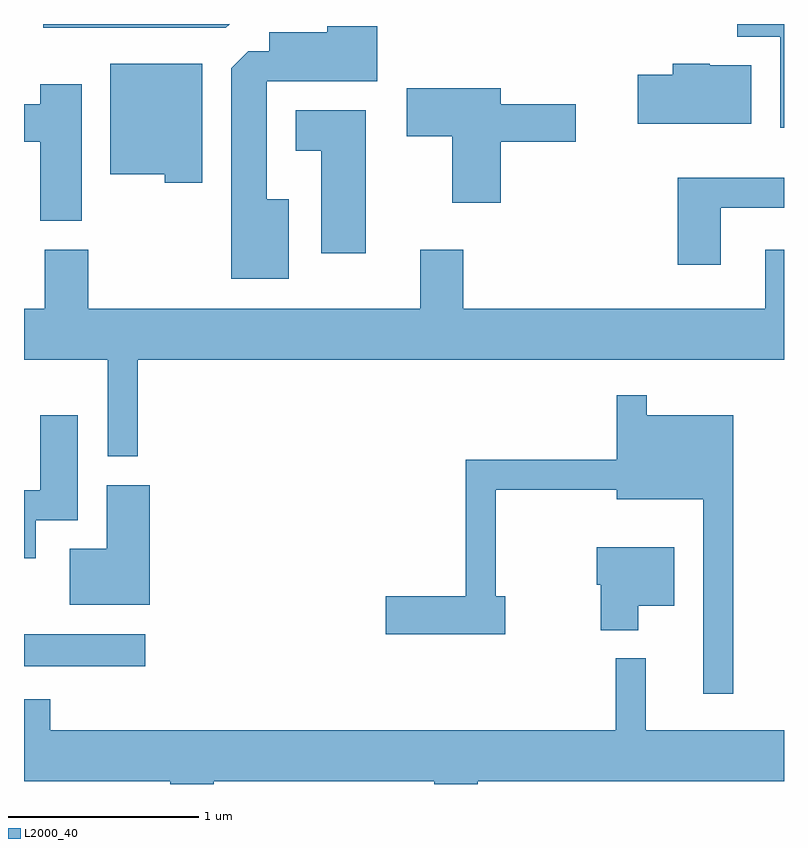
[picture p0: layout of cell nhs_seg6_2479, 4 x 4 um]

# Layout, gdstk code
import gdstk
lib = gdstk.Library(unit=1e-6, precision=1e-09)
def R(c, l, rs):  # rectangles x0, y0, x1, y1
    for r in rs: c.add(gdstk.rectangle(r[:2], r[2:], *l))
def P(c, l, *ps):  # polygons
    for p in ps: c.add(gdstk.Polygon(p, *l))
L2000_40 = (2000, 40)

nhs_seg6_2479 = lib.new_cell('nhs_seg6_2479')
R(nhs_seg6_2479, L2000_40, [(259.611,1632.781,260.248,1632.949)])
P(nhs_seg6_2479, L2000_40, [(260.695,1636.162),(259.712,1636.162),(259.712,1636.141),(260.674,1636.141)],
  [(263.611,1636.162),(263.366,1636.162),(263.366,1636.096),(263.591,1636.096),(263.591,1635.616),(263.611,1635.616)],
  [(261.004,1635.239),(260.889,1635.239),(260.889,1635.861),(261.469,1635.861),(261.469,1636.149),(261.206,1636.149),(261.206,1636.119),(260.901,1636.119),(260.901,1636.019),(260.791,1636.019),(260.701,1635.929),(260.701,1634.821),(261.004,1634.821)],
  [(260.549,1635.954),(260.066,1635.954),(260.066,1635.371),(260.351,1635.371),(260.351,1635.326),(260.549,1635.326)],
  [(263.439,1635.944),(263.22,1635.944),(263.22,1635.954),(263.026,1635.954),(263.026,1635.894),(262.841,1635.894),(262.841,1635.636),(263.439,1635.636)],
  [(259.914,1635.844),(259.696,1635.844),(259.696,1635.739),(259.611,1635.739),(259.611,1635.541),(259.696,1635.541),(259.696,1635.126),(259.914,1635.126)],
  [(262.119,1635.541),(262.514,1635.541),(262.514,1635.739),(262.119,1635.739),(262.119,1635.824),(261.626,1635.824),(261.626,1635.571),(261.866,1635.571),(261.866,1635.221),(262.119,1635.221)],
  [(261.409,1635.709),(261.041,1635.709),(261.041,1635.496),(261.176,1635.496),(261.176,1634.956),(261.409,1634.956)],
  [(263.279,1635.196),(263.611,1635.196),(263.611,1635.354),(263.051,1635.354),(263.051,1634.896),(263.279,1634.896)],
  [(260.209,1634.396),(263.611,1634.396),(263.611,1634.974),(263.511,1634.974),(263.511,1634.664),(261.924,1634.664),(261.924,1634.974),(261.696,1634.974),(261.696,1634.664),(259.949,1634.664),(259.949,1634.974),(259.721,1634.974),(259.721,1634.664),(259.611,1634.664),(259.611,1634.396),(260.051,1634.396),(260.051,1633.888),(260.209,1633.888)],
  [(263.344,1634.104),(262.889,1634.104),(262.889,1634.208),(262.731,1634.208),(262.731,1633.869),(261.936,1633.869),(261.936,1633.149),(261.516,1633.149),(261.516,1632.951),(262.144,1632.951),(262.144,1633.149),(262.094,1633.149),(262.094,1633.711),(262.731,1633.711),(262.731,1633.661),(263.186,1633.661),(263.186,1632.638),(263.344,1632.638)],
  [(259.674,1633.551),(259.894,1633.551),(259.894,1634.104),(259.696,1634.104),(259.696,1633.709),(259.611,1633.709),(259.611,1633.351),(259.674,1633.351)],
  [(260.274,1633.734),(260.046,1633.734),(260.046,1633.399),(259.851,1633.399),(259.851,1633.106),(260.274,1633.106)],
  [(262.844,1633.101),(263.034,1633.101),(263.034,1633.409),(262.626,1633.409),(262.626,1633.211),(262.646,1633.211),(262.646,1632.971),(262.844,1632.971)],
  [(260.609,1632.176),(261.771,1632.176),(261.771,1632.162),(261.999,1632.162),(261.999,1632.176),(263.611,1632.176),(263.611,1632.444),(262.884,1632.444),(262.884,1632.823),(262.726,1632.823),(262.726,1632.444),(259.749,1632.444),(259.749,1632.609),(259.611,1632.609),(259.611,1632.176),(260.381,1632.176),(260.381,1632.162),(260.609,1632.162)])

lib.write_gds('nhs_seg6_2479.gds')
